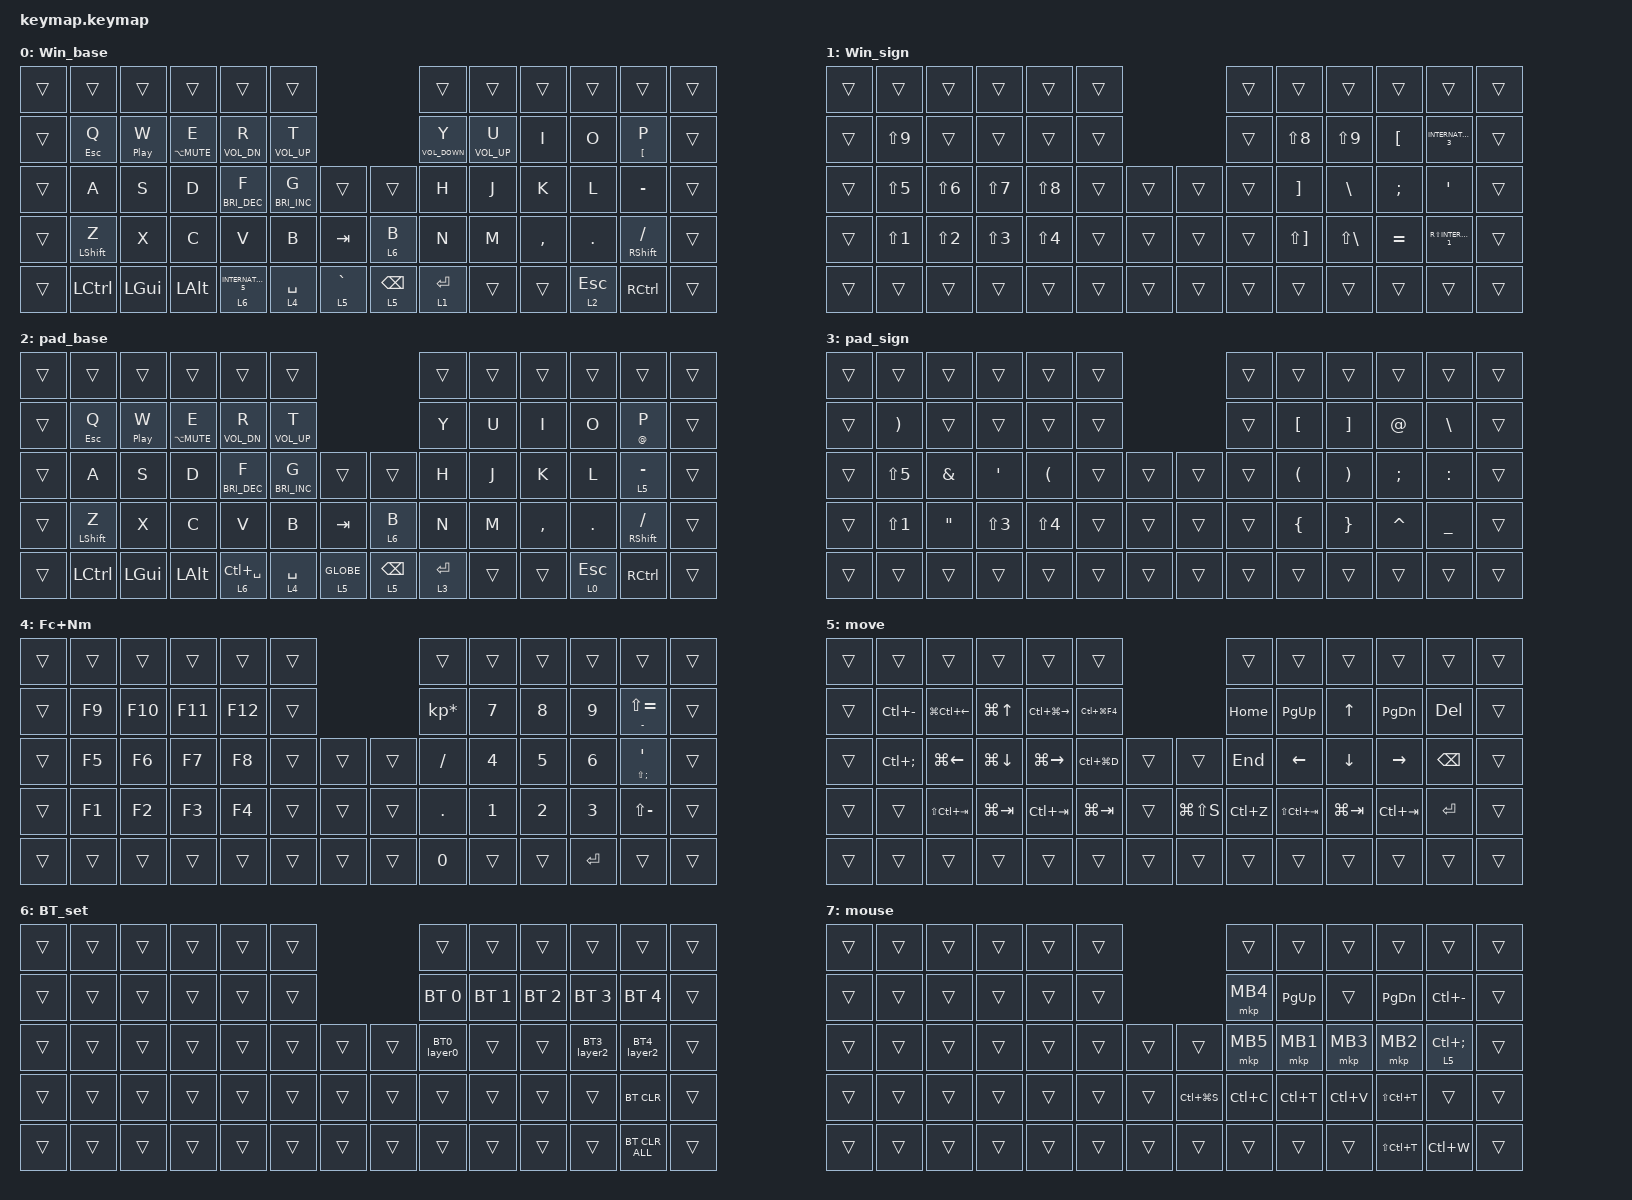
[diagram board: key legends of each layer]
#include <behaviors.dtsi>
#include <dt-bindings/zmk/bt.h>
#include <dt-bindings/zmk/keys.h>
#include <dt-bindings/zmk/pointing.h>
#include "custom.dtsi"  // ここを "" に変更

/ {
    // 1. behaviors ブロック：ここがエラーの主な原因になりやすい場所です

    behaviors {
        // &mt (Mod-Tap) の挙動変更
        // &lt (Layer-Tap) の挙動変更
    };

    // 2. combos ブロック

    combos {
        compatible = "zmk,combos";

        underbar {
            bindings = <&kp LS(INTERNATIONAL_1)>;
            key-positions = <49 50>;
        };

        power_sign {
            bindings = <&kp DELETE>;
            key-positions = <22 21>;
        };

        capslock {
            bindings = <&kp GRAVE>;
            key-positions = <25 26>;
        };
    };

    // 3. macros ブロック

    macros {
        BT0_layer0: BT0_layer0 {
            compatible = "zmk,behavior-macro";
            #binding-cells = <0>;
            bindings = <&bt BT_SEL 0>, <&macro_wait_time 200>, <&to 0>;

            label = "BT0_LAYER0";
        };

        BT4_layer2: BT4_layer2 {
            compatible = "zmk,behavior-macro";
            #binding-cells = <0>;
            bindings = <&bt BT_SEL 4>, <&macro_wait_time 200>, <&to 2>;

            label = "BT4_LAYER2";
        };

        BT3_layer2: BT3_layer2 {
            compatible = "zmk,behavior-macro";
            #binding-cells = <0>;
            bindings = <&bt BT_SEL 3>, <&macro_wait_time 200>, <&to 2>;

            label = "BT3_LAYER2";
        };
    };

    // 4. keymap ブロック

    keymap {
        compatible = "zmk,keymap";

        Win_base {
            bindings = <
&trans  &trans            &trans      &trans            &trans                  &trans                                                &trans               &trans             &trans     &trans        &trans                &trans
&trans  &mt ESC Q         &mt C_PP W  &mt LA(C_MUTE) E  &mt C_VOL_DN R          &mt C_VOL_UP T                                        &mt C_VOLUME_DOWN Y  &mt C_VOLUME_UP U  &kp I      &kp O         &mt LEFT_BRACKET P    &trans
&trans  &kp A             &kp S       &kp D             &mt C_BRIGHTNESS_DEC F  &mt C_BRIGHTNESS_INC G  &trans       &trans           &kp H                &kp J              &kp K      &kp L         &kp MINUS             &trans
&trans  &mt LEFT_SHIFT Z  &kp X       &kp C             &kp V                   &kp B                   &kp TAB      &lt 6 B          &kp N                &kp M              &kp COMMA  &kp DOT       &mt RIGHT_SHIFT FSLH  &trans
&trans  &kp LCTRL         &kp LGUI    &kp LALT          &lt 6 INTERNATIONAL_5   &lt 4 SPACE             &lt 5 GRAVE  &lt 5 BACKSPACE  &lt 1 ENTER          &trans             &trans     &lt 2 ESCAPE  &kp RIGHT_CONTROL     &trans
            >;
        };

        Win_sign {
            bindings = <
&trans  &trans            &trans            &trans            &trans            &trans                  &trans  &trans                 &trans             &trans            &trans                   &trans
&trans  &kp LS(N9)        &trans            &trans            &trans            &trans                  &trans  &kp LS(N8)             &kp LS(N9)         &kp LEFT_BRACKET  &kp INTERNATIONAL_3      &trans
&trans  &kp LS(N5)        &kp LS(NUMBER_6)  &kp LS(N7)        &kp LS(N8)        &trans  &trans  &trans  &trans  &kp RIGHT_BRACKET      &kp BACKSLASH      &kp SEMICOLON     &kp SQT                  &trans
&trans  &kp LS(NUMBER_1)  &kp LS(NUMBER_2)  &kp LS(NUMBER_3)  &kp LS(NUMBER_4)  &trans  &trans  &trans  &trans  &kp LS(RIGHT_BRACKET)  &kp LS(BACKSLASH)  &kp EQUAL         &kp RS(INTERNATIONAL_1)  &trans
&trans  &trans            &trans            &trans            &trans            &trans  &trans  &trans  &trans  &trans                 &trans             &trans            &trans                   &trans
            >;
        };

        pad_base {
            bindings = <
&trans  &trans            &trans      &trans            &trans                  &trans                                                &trans       &trans  &trans     &trans        &trans                &trans
&trans  &mt ESC Q         &mt C_PP W  &mt LA(C_MUTE) E  &mt C_VOL_DN R          &mt C_VOL_UP T                                        &kp Y        &kp U   &kp I      &kp O         &mt AT_SIGN P         &trans
&trans  &kp A             &kp S       &kp D             &mt C_BRIGHTNESS_DEC F  &mt C_BRIGHTNESS_INC G  &trans       &trans           &kp H        &kp J   &kp K      &kp L         &lt 5 MINUS           &trans
&trans  &mt LEFT_SHIFT Z  &kp X       &kp C             &kp V                   &kp B                   &kp TAB      &lt 6 B          &kp N        &kp M   &kp COMMA  &kp DOT       &mt RIGHT_SHIFT FSLH  &trans
&trans  &kp LCTRL         &kp LGUI    &kp LALT          &lt 6 LC(SPACE)         &lt 4 SPACE             &lt 5 GLOBE  &lt 5 BACKSPACE  &lt 3 ENTER  &trans  &trans     &lt 0 ESCAPE  &kp RIGHT_CONTROL     &trans
            >;
        };

        pad_sign {
            bindings = <
&trans  &trans                 &trans             &trans            &trans                &trans                  &trans  &trans                &trans                 &trans         &trans          &trans
&trans  &kp RIGHT_PARENTHESIS  &trans             &trans            &trans                &trans                  &trans  &kp LEFT_BRACKET      &kp RIGHT_BRACKET      &kp AT_SIGN    &kp BACKSLASH   &trans
&trans  &kp LS(N5)             &kp AMPERSAND      &kp SQT           &kp LEFT_PARENTHESIS  &trans  &trans  &trans  &trans  &kp LEFT_PARENTHESIS  &kp RIGHT_PARENTHESIS  &kp SEMICOLON  &kp COLON       &trans
&trans  &kp LS(NUMBER_1)       &kp DOUBLE_QUOTES  &kp LS(NUMBER_3)  &kp LS(NUMBER_4)      &trans  &trans  &trans  &trans  &kp LEFT_BRACE        &kp RIGHT_BRACE        &kp CARET      &kp UNDERSCORE  &trans
&trans  &trans                 &trans             &trans            &trans                &trans  &trans  &trans  &trans  &trans                &trans                 &trans         &trans          &trans
            >;
        };

        Fc+Nm {
            bindings = <
&trans  &trans  &trans   &trans   &trans   &trans                  &trans           &trans  &trans  &trans     &trans                          &trans
&trans  &kp F9  &kp F10  &kp F11  &kp F12  &trans                  &kp KP_MULTIPLY  &kp N7  &kp N8  &kp N9     &mt MINUS LS(EQUAL)             &trans
&trans  &kp F5  &kp F6   &kp F7   &kp F8   &trans  &trans  &trans  &kp SLASH        &kp N4  &kp N5  &kp N6     &mt LS(SEMICOLON) SINGLE_QUOTE  &trans
&trans  &kp F1  &kp F2   &kp F3   &kp F4   &trans  &trans  &trans  &kp DOT          &kp N1  &kp N2  &kp N3     &kp LS(MINUS)                   &trans
&trans  &trans  &trans   &trans   &trans   &trans  &trans  &trans  &kp N0           &trans  &trans  &kp ENTER  &trans                          &trans
            >;
        };

        move {
            bindings = <
&trans  &trans             &trans                  &trans            &trans                   &trans                                 &trans     &trans           &trans       &trans         &trans         &trans
&trans  &kp LC(MINUS)      &kp LG(LC(LEFT_ARROW))  &kp LG(UP_ARROW)  &kp LC(LG(RIGHT_ARROW))  &kp LC(LG(F4))                         &kp HOME   &kp PAGE_UP      &kp UP       &kp PAGE_DOWN  &kp DELETE     &trans
&trans  &kp LC(SEMICOLON)  &kp LG(LEFT)            &kp LG(DOWN)      &kp LG(RIGHT)            &kp LC(LG(D))   &trans  &trans         &kp END    &kp LEFT         &kp DOWN     &kp RIGHT      &kp BACKSPACE  &trans
&trans  &trans             &kp LS(LC(TAB))         &kp LG(TAB)       &kp LC(TAB)              &kp LG(TAB)     &trans  &kp LG(LS(S))  &kp LC(Z)  &kp LS(LC(TAB))  &kp LG(TAB)  &kp LC(TAB)    &kp ENTER      &trans
&trans  &trans             &trans                  &trans            &trans                   &trans          &trans  &trans         &trans     &trans           &trans       &trans         &trans         &trans
            >;
        };

        BT_set {
            bindings = <
&trans  &trans  &trans  &trans  &trans  &trans                  &trans        &trans        &trans        &trans        &trans          &trans
&trans  &trans  &trans  &trans  &trans  &trans                  &bt BT_SEL 0  &bt BT_SEL 1  &bt BT_SEL 2  &bt BT_SEL 3  &bt BT_SEL 4    &trans
&trans  &trans  &trans  &trans  &trans  &trans  &trans  &trans  &BT0_layer0   &trans        &trans        &BT3_layer2   &BT4_layer2     &trans
&trans  &trans  &trans  &trans  &trans  &trans  &trans  &trans  &trans        &trans        &trans        &trans        &bt BT_CLR      &trans
&trans  &trans  &trans  &trans  &trans  &trans  &trans  &trans  &trans        &trans        &trans        &trans        &bt BT_CLR_ALL  &trans
            >;
        };

        mouse {
            bindings = <
&trans  &trans  &trans  &trans  &trans  &trans                         &trans     &trans       &trans     &trans         &trans          &trans
&trans  &trans  &trans  &trans  &trans  &trans                         &mkp MB4   &kp PAGE_UP  &trans     &kp PAGE_DOWN  &kp LC(MINUS)   &trans
&trans  &trans  &trans  &trans  &trans  &trans  &trans  &trans         &mkp MB5   &mkp MB1     &mkp MB3   &mkp MB2       &lt 5 LC(SEMI)  &trans
&trans  &trans  &trans  &trans  &trans  &trans  &trans  &kp LC(LG(S))  &kp LC(C)  &kp LC(T)    &kp LC(V)  &kp LS(LC(T))  &trans          &trans
&trans  &trans  &trans  &trans  &trans  &trans  &trans  &trans         &trans     &trans       &trans     &kp LS(LC(T))  &kp LC(W)       &trans
            >;
        };
    };
};
